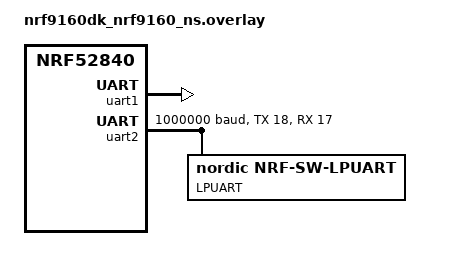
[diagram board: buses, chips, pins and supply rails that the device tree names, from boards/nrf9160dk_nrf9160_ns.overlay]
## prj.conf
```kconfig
#
# Copyright (c) 2018 Nordic Semiconductor
#
# SPDX-License-Identifier: LicenseRef-Nordic-5-Clause
#

# Enable the UART driver
CONFIG_UART_ASYNC_API=y
CONFIG_NRFX_UARTE1=y
CONFIG_SERIAL=y

CONFIG_GPIO=y

# Make sure printk is printing to the UART console
CONFIG_CONSOLE=y
CONFIG_UART_CONSOLE=y

CONFIG_HEAP_MEM_POOL_SIZE=2048

CONFIG_BT=y
CONFIG_BT_PERIPHERAL=y
CONFIG_BT_DEVICE_NAME="Nordic_UART_Service"
CONFIG_BT_DEVICE_APPEARANCE=833
CONFIG_BT_MAX_CONN=1
CONFIG_BT_MAX_PAIRED=1

# Enable the NUS service
CONFIG_BT_NUS=y

# Enable bonding
CONFIG_BT_SETTINGS=y
CONFIG_FLASH=y
CONFIG_FLASH_PAGE_LAYOUT=y
CONFIG_FLASH_MAP=y
CONFIG_NVS=y
CONFIG_SETTINGS=y

# Enable DK LED and Buttons library
CONFIG_DK_LIBRARY=y

# This example requires more workqueue stack
CONFIG_SYSTEM_WORKQUEUE_STACK_SIZE=2048

# Config logger
CONFIG_LOG=y
CONFIG_USE_SEGGER_RTT=y
CONFIG_LOG_BACKEND_RTT=y
CONFIG_LOG_BACKEND_UART=n

CONFIG_ASSERT=y

# Enable Bluetooth stack and libraries
CONFIG_BT_H4=y
CONFIG_BT_WAIT_NOP=y

#CONFIG_UART_INTERRUPT_DRIVEN=y
CONFIG_BT_NUS_UART_DEV="UART_1"

CONFIG_UART_1_ASYNC=y
CONFIG_UART_1_INTERRUPT_DRIVEN=n
CONFIG_UART_1_NRF_HW_ASYNC=y
CONFIG_UART_1_NRF_HW_ASYNC_TIMER=2
```

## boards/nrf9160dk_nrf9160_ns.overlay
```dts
#include <nrf9160dk_nrf52840_reset_on_if5.dtsi>

/ {
	chosen {
		zephyr,bt-uart=&lpuart;
	};
};

&gpiote {
	interrupts = <49 NRF_DEFAULT_IRQ_PRIORITY>;
};

&uart1 {
	status = "okay";
};

&uart2 {
	current-speed = <1000000>;
	status = "okay";
	tx-pin = <18>; /* <&interface_to_nrf52840 1 0>; */
	rx-pin = <17>; /* <&interface_to_nrf52840 0 0>; */
	/delete-property/ rts-pin;
	/delete-property/ cts-pin;
	/delete-property/ hw-flow-control;

	lpuart: nrf-sw-lpuart {
		compatible = "nordic,nrf-sw-lpuart";
		status = "okay";
		label = "LPUART";
		req-pin = <21>; /* <&interface_to_nrf52840 3 0>; */
		rdy-pin = <19>; /* <&interface_to_nrf52840 2 0>; */
	};
};
```

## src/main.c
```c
/*
 * Copyright (c) 2018 Nordic Semiconductor ASA
 *
 * SPDX-License-Identifier: LicenseRef-Nordic-5-Clause
 */

/** @file
 *  @brief Nordic UART Bridge Service (NUS) sample
 */
#include "uart_async_adapter.h"

#include <zephyr/types.h>
#include <zephyr.h>
#include <drivers/uart.h>
#include <usb/usb_device.h>

#include <device.h>
#include <soc.h>

#include <bluetooth/bluetooth.h>
#include <bluetooth/uuid.h>
#include <bluetooth/gatt.h>
#include <bluetooth/hci.h>

#include <bluetooth/services/nus.h>

#include <dk_buttons_and_leds.h>

#include <settings/settings.h>

#include <stdio.h>

#include <logging/log.h>

#define LOG_MODULE_NAME peripheral_uart
LOG_MODULE_REGISTER(LOG_MODULE_NAME);

#define STACKSIZE CONFIG_BT_NUS_THREAD_STACK_SIZE
#define PRIORITY 7

#define DEVICE_NAME CONFIG_BT_DEVICE_NAME
#define DEVICE_NAME_LEN	(sizeof(DEVICE_NAME) - 1)

#define RUN_STATUS_LED DK_LED1
#define RUN_LED_BLINK_INTERVAL 1000

#define CON_STATUS_LED DK_LED2

#define KEY_PASSKEY_ACCEPT DK_BTN1_MSK
#define KEY_PASSKEY_REJECT DK_BTN2_MSK

#define UART_BUF_SIZE CONFIG_BT_NUS_UART_BUFFER_SIZE
#define UART_WAIT_FOR_BUF_DELAY K_MSEC(50)
#define UART_WAIT_FOR_RX CONFIG_BT_NUS_UART_RX_WAIT_TIME

//static struct k_work_delayable mqtt_work;
static void connection_param_update_handler(struct k_work *work);
K_WORK_DEFINE(connection_param_update_work, connection_param_update_handler);

static void connection_interval_timer_handler(struct k_timer *timer);
K_TIMER_DEFINE(connection_interval_timer, connection_interval_timer_handler, NULL);

static K_SEM_DEFINE(ble_init_ok, 0, 1);

static struct bt_conn *current_conn;
static struct bt_conn *auth_conn;

static const struct device *uart;
static struct k_work_delayable uart_work;

struct uart_data_t {
	void *fifo_reserved;
	uint8_t data[UART_BUF_SIZE];
	uint16_t len;
};

static K_FIFO_DEFINE(fifo_uart_tx_data);
static K_FIFO_DEFINE(fifo_uart_rx_data);

static const struct bt_data ad[] = {
	BT_DATA_BYTES(BT_DATA_FLAGS, (BT_LE_AD_GENERAL | BT_LE_AD_NO_BREDR)),
	BT_DATA(BT_DATA_NAME_COMPLETE, DEVICE_NAME, DEVICE_NAME_LEN),
};

static const struct bt_data sd[] = {
	BT_DATA_BYTES(BT_DATA_UUID128_ALL, BT_UUID_NUS_VAL),
};

#if CONFIG_BT_NUS_UART_ASYNC_ADAPTER
UART_ASYNC_ADAPTER_INST_DEFINE(async_adapter);
#else
static const struct device *const async_adapter;
#endif

static void uart_cb(const struct device *dev, struct uart_event *evt, void *user_data)
{
	ARG_UNUSED(dev);

	static uint8_t *current_buf;
	static size_t aborted_len;
	static bool buf_release;
	struct uart_data_t *buf;
	static uint8_t *aborted_buf;

	switch (evt->type) {
	case UART_TX_DONE:
		LOG_DBG("tx_done");
		if ((evt->data.tx.len == 0) ||
		    (!evt->data.tx.buf)) {
			return;
		}

		if (aborted_buf) {
			buf = CONTAINER_OF(aborted_buf, struct uart_data_t,
					   data);
			aborted_buf = NULL;
			aborted_len = 0;
		} else {
			buf = CONTAINER_OF(evt->data.tx.buf, struct uart_data_t,
					   data);
		}

		k_free(buf);

		buf = k_fifo_get(&fifo_uart_tx_data, K_NO_WAIT);
		if (!buf) {
			return;
		}

		if (uart_tx(uart, buf->data, buf->len, SYS_FOREVER_MS)) {
			LOG_WRN("Failed to send data over UART");
		}

		break;

	case UART_RX_RDY:
		LOG_DBG("rx_rdy");
		buf = CONTAINER_OF(evt->data.rx.buf, struct uart_data_t, data);
		buf->len += evt->data.rx.len;
		buf_release = false;

		if (buf->len == UART_BUF_SIZE) {
			k_fifo_put(&fifo_uart_rx_data, buf);
		} else if ((evt->data.rx.buf[buf->len - 1] == '\n') ||
			  (evt->data.rx.buf[buf->len - 1] == '\r')) {
			k_fifo_put(&fifo_uart_rx_data, buf);
			current_buf = evt->data.rx.buf;
			buf_release = true;
			uart_rx_disable(uart);
		}

		break;

	case UART_RX_DISABLED:
		LOG_DBG("rx_disabled");
		buf = k_malloc(sizeof(*buf));
		if (buf) {
			buf->len = 0;
		} else {
			LOG_WRN("Not able to allocate UART receive buffer");
			k_work_reschedule(&uart_work, UART_WAIT_FOR_BUF_DELAY);
			return;
		}

		uart_rx_enable(uart, buf->data, sizeof(buf->data),
			       UART_WAIT_FOR_RX);

		break;

	case UART_RX_BUF_REQUEST:
		LOG_DBG("rx_buf_request");
		buf = k_malloc(sizeof(*buf));
		if (buf) {
			buf->len = 0;
			uart_rx_buf_rsp(uart, buf->data, sizeof(buf->data));
		} else {
			LOG_WRN("Not able to allocate UART receive buffer");
		}

		break;

	case UART_RX_BUF_RELEASED:
		LOG_DBG("rx_buf_released");
		buf = CONTAINER_OF(evt->data.rx_buf.buf, struct uart_data_t,
				   data);
		if (buf_release && (current_buf != evt->data.rx_buf.buf)) {
			k_free(buf);
			buf_release = false;
			current_buf = NULL;
		}

		break;

	case UART_TX_ABORTED:
			LOG_DBG("tx_aborted");
			if (!aborted_buf) {
				aborted_buf = (uint8_t *)evt->data.tx.buf;
			}

			aborted_len += evt->data.tx.len;
			buf = CONTAINER_OF(aborted_buf, struct uart_data_t,
					   data);

			uart_tx(uart, &buf->data[aborted_len],
				buf->len - aborted_len, SYS_FOREVER_MS);

		break;

	default:
		break;
	}
}

static void uart_work_handler(struct k_work *item)
{
	struct uart_data_t *buf;

	buf = k_malloc(sizeof(*buf));
	if (buf) {
		buf->len = 0;
	} else {
		LOG_WRN("Not able to allocate UART receive buffer");
		k_work_reschedule(&uart_work, UART_WAIT_FOR_BUF_DELAY);
		return;
	}

	uart_rx_enable(uart, buf->data, sizeof(buf->data), UART_WAIT_FOR_RX);
}

static bool uart_test_async_api(const struct device *dev)
{
	const struct uart_driver_api *api =
			(const struct uart_driver_api *)dev->api;

	return (api->callback_set != NULL);
}

static int uart_init(void)
{
	int err;
	int pos;
	struct uart_data_t *rx;
	struct uart_data_t *tx;

	uart = device_get_binding(CONFIG_BT_NUS_UART_DEV);
	if (!uart) {
		return -ENXIO;
	}

	if (IS_ENABLED(CONFIG_USB)) {
		err = usb_enable(NULL);
		if (err) {
			LOG_ERR("Failed to enable USB");
			return err;
		}
	}

	rx = k_malloc(sizeof(*rx));
	if (rx) {
		rx->len = 0;
	} else {
		return -ENOMEM;
	}

	k_work_init_delayable(&uart_work, uart_work_handler);


	if (IS_ENABLED(CONFIG_BT_NUS_UART_ASYNC_ADAPTER) && !uart_test_async_api(uart)) {
		/* Implement API adapter */
		uart_async_adapter_init(async_adapter, uart);
		uart = async_adapter;
	}

	err = uart_callback_set(uart, uart_cb, NULL);
	if (err) {
		LOG_ERR("Cannot initialize UART callback");
		return err;
	}

	if (IS_ENABLED(CONFIG_UART_LINE_CTRL)) {
		LOG_INF("Wait for DTR");
		while (true) {
			uint32_t dtr = 0;

			uart_line_ctrl_get(uart, UART_LINE_CTRL_DTR, &dtr);
			if (dtr) {
				break;
			}
			/* Give CPU resources to low priority threads. */
			k_sleep(K_MSEC(100));
		}
		LOG_INF("DTR set");
		err = uart_line_ctrl_set(uart, UART_LINE_CTRL_DCD, 1);
		if (err) {
			LOG_WRN("Failed to set DCD, ret code %d", err);
		}
		err = uart_line_ctrl_set(uart, UART_LINE_CTRL_DSR, 1);
		if (err) {
			LOG_WRN("Failed to set DSR, ret code %d", err);
		}
	}

	tx = k_malloc(sizeof(*tx));

	if (tx) {
		pos = snprintf(tx->data, sizeof(tx->data),
			       "Starting Nordic UART service example\r\n");

		if ((pos < 0) || (pos >= sizeof(tx->data))) {
			k_free(tx);
			LOG_ERR("snprintf returned %d", pos);
			return -ENOMEM;
		}

		tx->len = pos;
	} else {
		return -ENOMEM;
	}

	err = uart_tx(uart, tx->data, tx->len, SYS_FOREVER_MS);
	if (err) {
		LOG_ERR("Cannot display welcome message (err: %d)", err);
		return err;
	}

	return uart_rx_enable(uart, rx->data, sizeof(rx->data), 50);
}

static void connected(struct bt_conn *conn, uint8_t err)
{
	char addr[BT_ADDR_LE_STR_LEN];

	if (err) {
		LOG_ERR("Connection failed (err %u)", err);
		return;
	}

	bt_addr_le_to_str(bt_conn_get_dst(conn), addr, sizeof(addr));
	LOG_INF("Connected %s", log_strdup(addr));

	current_conn = bt_conn_ref(conn);

	dk_set_led_on(CON_STATUS_LED);

	k_timer_start(&connection_interval_timer, K_SECONDS(20), K_SECONDS(10));	
}

static void disconnected(struct bt_conn *conn, uint8_t reason)
{
	char addr[BT_ADDR_LE_STR_LEN];

	bt_addr_le_to_str(bt_conn_get_dst(conn), addr, sizeof(addr));

	LOG_INF("Disconnected: %s (reason %u)", log_strdup(addr), reason);

	if (auth_conn) {
		bt_conn_unref(auth_conn);
		auth_conn = NULL;
	}

	if (current_conn) {
		bt_conn_unref(current_conn);
		current_conn = NULL;
		dk_set_led_off(CON_STATUS_LED);
	}

	k_timer_stop(&connection_interval_timer);	
}

static void connection_param_update_handler(struct k_work *work)
{
	ARG_UNUSED(work);

	static int _cnt = 0;
	int min_interval = 24;
	int max_interval = 48;
	int latency = 0;
	int timeout = 300;
// パラメータチェック
// interval_min , 6, 3200.
// latency 500未満
// timeout 10, 3200,
// (timeout * 4) > (1 + latency) * interval_max
	switch(_cnt) {
		case 0:
			min_interval = 24;// 30msec
			max_interval = 48;// 60msec
			latency = 0;
			timeout = 300; // 3000msec
		break;

		case 1:
			min_interval = 240;//300msec
			max_interval = 480;//600msec
			latency = 0;
			timeout = 300;		
		break;

		case 2:
			min_interval = 24;// 30msec
			max_interval = 48;// 60msec
			latency = 10;
			timeout = 300;		
		break;

		case 3:
			min_interval = 24;//30msec
			max_interval = 480;//600msec
			latency = 0;
			timeout = 300;		
		break;

		case 4:
			min_interval = 24;//30msec
			max_interval = 480;//600msec
			latency = 2;
			timeout = 300;		
		break;

		default: 
			return;
	}

	if(current_conn) {
		LOG_INF("conn: min:%d, max:%d, latency:%d, timeout: %d.", min_interval, max_interval, latency, timeout);
		struct bt_le_conn_param *p_param = BT_LE_CONN_PARAM(min_interval, max_interval, latency, timeout);
		int ret = bt_conn_le_param_update(current_conn, p_param);
		if(ret) {
			LOG_ERR("bt_conn_le_param_update(), err: %d.",ret);
		}
		_cnt++;
	}
}
static void connection_interval_timer_handler(struct k_timer *timer)
{
	ARG_UNUSED(timer);

    // タイマからの呼び出しはISR、getaddressなどは内部でオフロードのためにmutexを使い、mutexはISRでは使えない。
    // ワーカーとして投げる。
    k_work_submit(&connection_param_update_work);
}

static bool le_param_req_cb(struct bt_conn *conn, struct bt_le_conn_param *param)
{
	LOG_INF("le_param_req_cb(), max: %d, min:%d, lat: %d, timeout: %d.", param->interval_max, param->interval_min, param->latency, param->timeout);
	return true;
}

static void le_param_updated_cb(struct bt_conn *conn, uint16_t interval, uint16_t latency, uint16_t timeout)
{
	LOG_INF("le_param_updated_cb(), interval: %d, lat: %d, timeout: %d.", interval, latency, timeout);
}

#ifdef CONFIG_BT_NUS_SECURITY_ENABLED
static void security_changed(struct bt_conn *conn, bt_security_t level,
			     enum bt_security_err err)
{
	char addr[BT_ADDR_LE_STR_LEN];

	bt_addr_le_to_str(bt_conn_get_dst(conn), addr, sizeof(addr));

	if (!err) {
		LOG_INF("Security changed: %s level %u", log_strdup(addr),
			level);
	} else {
		LOG_WRN("Security failed: %s level %u err %d", log_strdup(addr),
			level, err);
	}
}
#endif

static struct bt_conn_cb conn_callbacks = {
	.connected    = connected,
	.disconnected = disconnected,
#ifdef CONFIG_BT_NUS_SECURITY_ENABLED
	.security_changed = security_changed,
#endif
	.le_param_req = le_param_req_cb,
	.le_param_updated = le_param_updated_cb,
};

#if defined(CONFIG_BT_NUS_SECURITY_ENABLED)
static void auth_passkey_display(struct bt_conn *conn, unsigned int passkey)
{
	char addr[BT_ADDR_LE_STR_LEN];

	bt_addr_le_to_str(bt_conn_get_dst(conn), addr, sizeof(addr));

	LOG_INF("Passkey for %s: %06u", log_strdup(addr), passkey);
}

static void auth_passkey_confirm(struct bt_conn *conn, unsigned int passkey)
{
	char addr[BT_ADDR_LE_STR_LEN];

	auth_conn = bt_conn_ref(conn);

	bt_addr_le_to_str(bt_conn_get_dst(conn), addr, sizeof(addr));

	LOG_INF("Passkey for %s: %06u", log_strdup(addr), passkey);
	LOG_INF("Press Button 1 to confirm, Button 2 to reject.");
}


static void auth_cancel(struct bt_conn *conn)
{
	char addr[BT_ADDR_LE_STR_LEN];

	bt_addr_le_to_str(bt_conn_get_dst(conn), addr, sizeof(addr));

	LOG_INF("Pairing cancelled: %s", log_strdup(addr));
}


static void pairing_confirm(struct bt_conn *conn)
{
	char addr[BT_ADDR_LE_STR_LEN];

	bt_addr_le_to_str(bt_conn_get_dst(conn), addr, sizeof(addr));

	bt_conn_auth_pairing_confirm(conn);

	LOG_INF("Pairing confirmed: %s", log_strdup(addr));
}


static void pairing_complete(struct bt_conn *conn, bool bonded)
{
	char addr[BT_ADDR_LE_STR_LEN];

	bt_addr_le_to_str(bt_conn_get_dst(conn), addr, sizeof(addr));

	LOG_INF("Pairing completed: %s, bonded: %d", log_strdup(addr),
		bonded);
}


static void pairing_failed(struct bt_conn *conn, enum bt_security_err reason)
{
	char addr[BT_ADDR_LE_STR_LEN];

	bt_addr_le_to_str(bt_conn_get_dst(conn), addr, sizeof(addr));

	LOG_INF("Pairing failed conn: %s, reason %d", log_strdup(addr),
		reason);
}


static struct bt_conn_auth_cb conn_auth_callbacks = {
	.passkey_display = auth_passkey_display,
	.passkey_confirm = auth_passkey_confirm,
	.cancel = auth_cancel,
	.pairing_confirm = pairing_confirm,
	.pairing_complete = pairing_complete,
	.pairing_failed = pairing_failed
};
#else
static struct bt_conn_auth_cb conn_auth_callbacks;
#endif

static void bt_receive_cb(struct bt_conn *conn, const uint8_t *const data,
			  uint16_t len)
{
	int err;
	char addr[BT_ADDR_LE_STR_LEN] = {0};

	bt_addr_le_to_str(bt_conn_get_dst(conn), addr, ARRAY_SIZE(addr));

	LOG_INF("Received data from: %s", log_strdup(addr));

	for (uint16_t pos = 0; pos != len;) {
		struct uart_data_t *tx = k_malloc(sizeof(*tx));

		if (!tx) {
			LOG_WRN("Not able to allocate UART send data buffer");
			return;
		}

		/* Keep the last byte of TX buffer for potential LF char. */
		size_t tx_data_size = sizeof(tx->data) - 1;

		if ((len - pos) > tx_data_size) {
			tx->len = tx_data_size;
		} else {
			tx->len = (len - pos);
		}

		memcpy(tx->data, &data[pos], tx->len);

		pos += tx->len;

		/* Append the LF character when the CR character triggered
		 * transmission from the peer.
		 */
		if ((pos == len) && (data[len - 1] == '\r')) {
			tx->data[tx->len] = '\n';
			tx->len++;
		}

		err = uart_tx(uart, tx->data, tx->len, SYS_FOREVER_MS);
		if (err) {
			k_fifo_put(&fifo_uart_tx_data, tx);
		}
	}
}

static struct bt_nus_cb nus_cb = {
	.received = bt_receive_cb,
};

void error(void)
{
	dk_set_leds_state(DK_ALL_LEDS_MSK, DK_NO_LEDS_MSK);

	while (true) {
		/* Spin for ever */
		k_sleep(K_MSEC(1000));
	}
}

#ifdef CONFIG_BT_NUS_SECURITY_ENABLED
static void num_comp_reply(bool accept)
{
	if (accept) {
		bt_conn_auth_passkey_confirm(auth_conn);
		LOG_INF("Numeric Match, conn %p", (void *)auth_conn);
	} else {
		bt_conn_auth_cancel(auth_conn);
		LOG_INF("Numeric Reject, conn %p", (void *)auth_conn);
	}

	bt_conn_unref(auth_conn);
	auth_conn = NULL;
}

void button_changed(uint32_t button_state, uint32_t has_changed)
{
	uint32_t buttons = button_state & has_changed;

	if (auth_conn) {
		if (buttons & KEY_PASSKEY_ACCEPT) {
			num_comp_reply(true);
		}

		if (buttons & KEY_PASSKEY_REJECT) {
			num_comp_reply(false);
		}
	}
}
#endif /* CONFIG_BT_NUS_SECURITY_ENABLED */

static void configure_gpio(void)
{
	int err;

#ifdef CONFIG_BT_NUS_SECURITY_ENABLED
	err = dk_buttons_init(button_changed);
	if (err) {
		LOG_ERR("Cannot init buttons (err: %d)", err);
	}
#endif /* CONFIG_BT_NUS_SECURITY_ENABLED */

	err = dk_leds_init();
	if (err) {
		LOG_ERR("Cannot init LEDs (err: %d)", err);
	}
}

void main(void)
{
	int blink_status = 0;
	int err = 0;

	configure_gpio();

	err = uart_init();
	if (err) {
		error();
	}

	bt_conn_cb_register(&conn_callbacks);

	if (IS_ENABLED(CONFIG_BT_NUS_SECURITY_ENABLED)) {
		bt_conn_auth_cb_register(&conn_auth_callbacks);
	}

	err = bt_enable(NULL);
	if (err) {
		error();
	}

	LOG_INF("Bluetooth initialized");

	k_sem_give(&ble_init_ok);

	if (IS_ENABLED(CONFIG_SETTINGS)) {
		settings_load();
	}

	err = bt_nus_init(&nus_cb);
	if (err) {
		LOG_ERR("Failed to initialize UART service (err: %d)", err);
		return;
	}

	err = bt_le_adv_start(BT_LE_ADV_CONN, ad, ARRAY_SIZE(ad), sd,
			      ARRAY_SIZE(sd));
	if (err) {
		LOG_ERR("Advertising failed to start (err %d)", err);
		return;
	}

	for (;;) {
		dk_set_led(RUN_STATUS_LED, (++blink_status) % 2);
		k_sleep(K_MSEC(RUN_LED_BLINK_INTERVAL));
	}
}

void ble_write_thread(void)
{
	/* Don't go any further until BLE is initialized */
	k_sem_take(&ble_init_ok, K_FOREVER);

	for (;;) {
		/* Wait indefinitely for data to be sent over bluetooth */
		struct uart_data_t *buf = k_fifo_get(&fifo_uart_rx_data,
						     K_FOREVER);

		if (bt_nus_send(NULL, buf->data, buf->len)) {
			LOG_WRN("Failed to send data over BLE connection");
		}

		k_free(buf);
	}
}

K_THREAD_DEFINE(ble_write_thread_id, STACKSIZE, ble_write_thread, NULL, NULL,
		NULL, PRIORITY, 0, 0);
```
